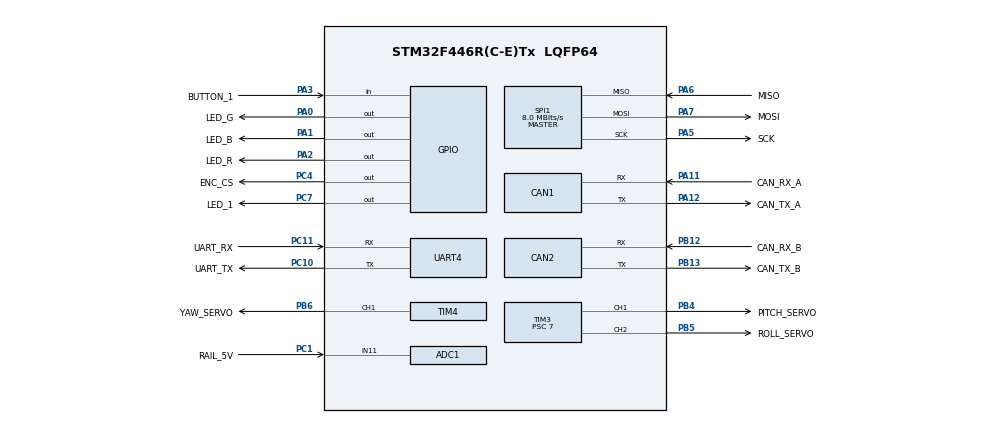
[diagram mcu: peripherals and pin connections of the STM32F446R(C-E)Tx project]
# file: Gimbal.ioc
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ADC1.Channel-1\#ChannelRegularConversion=ADC_CHANNEL_11
ADC1.NbrOfConversionFlag=1
ADC1.Rank-1\#ChannelRegularConversion=1
ADC1.SamplingTime-1\#ChannelRegularConversion=ADC_SAMPLETIME_3CYCLES
ADC1.master=1
CAN1.CalculateTimeQuantum=1000.0
CAN2.CalculateTimeQuantum=1000.0
Mcu.Family=STM32F4
Mcu.Name=STM32F446R(C-E)Tx
Mcu.Package=LQFP64
NVIC.PriorityGroup=NVIC_PRIORITYGROUP_4
PA0-WKUP.GPIO_Label=LED_G
PA0-WKUP.Signal=GPIO_Output
PA1.GPIO_Label=LED_B
PA1.Signal=GPIO_Output
PA11.GPIO_Label=CAN_RX_A
PA11.Mode=Master
PA11.Signal=CAN1_RX
PA12.GPIO_Label=CAN_TX_A
PA12.Mode=Master
PA12.Signal=CAN1_TX
PA13.GPIO_Label=SWD_IO
PA13.Mode=JTAG_4_pins
PA13.Signal=SYS_JTMS-SWDIO
PA14.GPIO_Label=SWD_CLK
PA14.Mode=JTAG_4_pins
PA14.Signal=SYS_JTCK-SWCLK
PA15.GPIO_Label=JTDI
PA15.Mode=JTAG_4_pins
PA15.Signal=SYS_JTDI
PA2.GPIO_Label=LED_R
PA2.Signal=GPIO_Output
PA3.GPIO_Label=BUTTON_1
PA3.Signal=GPIO_Input
PA5.GPIO_Label=SCK
PA5.Mode=Full_Duplex_Master
PA5.Signal=SPI1_SCK
PA6.GPIO_Label=MISO
PA6.Mode=Full_Duplex_Master
PA6.Signal=SPI1_MISO
PA7.GPIO_Label=MOSI
PA7.Mode=Full_Duplex_Master
PA7.Signal=SPI1_MOSI
PB12.GPIO_Label=CAN_RX_B
PB12.Mode=Slave
PB12.Signal=CAN2_RX
PB13.GPIO_Label=CAN_TX_B
PB13.Mode=Slave
PB13.Signal=CAN2_TX
PB3.GPIO_Label=JTDO
PB3.Mode=JTAG_4_pins
PB3.Signal=SYS_JTDO-SWO
PB4.GPIO_Label=PITCH_SERVO
PB4.Signal=S_TIM3_CH1
PB5.GPIO_Label=ROLL_SERVO
PB5.Signal=S_TIM3_CH2
PB6.GPIO_Label=YAW_SERVO
PB6.Signal=S_TIM4_CH1
PC1.GPIO_Label=RAIL_5V
PC1.Signal=ADCx_IN11
PC10.GPIO_Label=UART_TX
PC10.Mode=Asynchronous
PC10.Signal=UART4_TX
PC11.GPIO_Label=UART_RX
PC11.Mode=Asynchronous
PC11.Signal=UART4_RX
PC4.GPIO_Label=ENC_CS
PC4.Signal=GPIO_Output
PC7.GPIO_Label=LED_1
PC7.Signal=GPIO_Output
PH0-OSC_IN.Mode=HSE-External-Oscillator
PH0-OSC_IN.Signal=RCC_OSC_IN
PH1-OSC_OUT.Mode=HSE-External-Oscillator
PH1-OSC_OUT.Signal=RCC_OSC_OUT
ProjectManager.HeapSize=0x200
ProjectManager.StackSize=0x400
ProjectManager.TargetToolchain=STM32CubeIDE
RCC.CortexFreq_Value=16000000
RCC.USBFreq_Value=96000000
RCC.VCOOutputFreq_Value=192000000
SH.ADCx_IN11.0=ADC1_IN11,IN11
SH.S_TIM3_CH1.0=TIM3_CH1,PWM Generation1 CH1
SH.S_TIM3_CH2.0=TIM3_CH2,PWM Generation2 CH2
SH.S_TIM4_CH1.0=TIM4_CH1,PWM Generation1 CH1
SPI1.CalculateBaudRate=8.0 MBits/s
SPI1.Direction=SPI_DIRECTION_2LINES
SPI1.Mode=SPI_MODE_MASTER
SPI1.VirtualType=VM_MASTER
TIM3.Channel-PWM\ Generation1\ CH1=TIM_CHANNEL_1
TIM3.Channel-PWM\ Generation2\ CH2=TIM_CHANNEL_2
TIM3.Period=40000
TIM3.Prescaler=7
TIM4.Channel-PWM\ Generation1\ CH1=TIM_CHANNEL_1
TIM4.Period=40000
TIM4.Prescaler=7
UART4.VirtualMode=Asynchronous
VP_TIM11_VS_ClockSourceINT.Mode=Enable_Timer
VP_TIM12_VS_OPM.Mode=OPM_bit
VP_TIM6_VS_ClockSourceINT.Mode=Enable_Timer
VP_TIM7_VS_ClockSourceINT.Mode=Enable_Timer
board=custom

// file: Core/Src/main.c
/* USER CODE BEGIN Header */
/**
  ******************************************************************************
  * @file           : main.c
  * @brief          : Main program body
  ******************************************************************************
  * @attention
  *
  * <h2><center>&copy; Copyright (c) 2021 STMicroelectronics.
  * All rights reserved.</center></h2>
  *
  * This software component is licensed by ST under BSD 3-Clause license,
  * the "License"; You may not use this file except in compliance with the
  * License. You may obtain a copy of the License at:
  *                        opensource.org/licenses/BSD-3-Clause
  *
  ******************************************************************************
  */
/* USER CODE END Header */

#include "main.h"
#include "adc.h"
#include "can.h"
#include "spi.h"
#include "tim.h"
#include "usart.h"
#include "gpio.h"

/* USER CODE BEGIN PM */
#define isBitSet(byte, bit) (byte & (1 << bit))
#define isBitClear(byte, bit) !(byte & (1 << bit))
#define toggleBit(byte, bit) (byte ^= (1 << bit))
#define SIGNOF(val) ((0 < (val)) - ((val) < 0))

/* USER CODE END PM */

void SystemClock_Config(void);

int main(void)
{

  /* MCU Configuration--------------------------------------------------------*/

  /* Reset of all peripherals, Initializes the Flash interface and the Systick. */
  HAL_Init();

  /* Configure the system clock */
  SystemClock_Config();

  /* Initialize all configured peripherals */
  MX_GPIO_Init();
  MX_CAN1_Init();
  MX_CAN2_Init();
  MX_SPI1_Init();
  MX_TIM4_Init();
  MX_TIM6_Init();
  MX_TIM7_Init();
  MX_TIM12_Init();
  MX_UART4_Init();
  MX_TIM11_Init();
  MX_TIM3_Init();
  MX_ADC1_Init();

  /* Infinite loop */
  /* USER CODE BEGIN WHILE */

  HAL_TIM_PWM_Start(&htim3, TIM_CHANNEL_1);
  HAL_TIM_PWM_Start(&htim3, TIM_CHANNEL_2);
  HAL_TIM_PWM_Start(&htim4, TIM_CHANNEL_1);

  uint8_t iterator = 0;
  const float MAX_PWM_MS = 2.0f;
  const float MIN_PWM_MS = 1.0f;
  const int MAX_ITERATOR = 8.0;

  uint16_t raw;
  char msg[10];

  while (1)
  {
	  if(iterator == MAX_ITERATOR)
	  {
	  		  iterator = 0;
	  }

	  HAL_GPIO_WritePin(LED_R_GPIO_Port, LED_R_Pin, isBitSet(iterator, 0));
	  HAL_GPIO_WritePin(LED_G_GPIO_Port, LED_G_Pin, isBitSet(iterator, 1));
	  HAL_GPIO_WritePin(LED_B_GPIO_Port, LED_B_Pin, isBitSet(iterator, 2));

	  float servoMs = (MAX_PWM_MS-MIN_PWM_MS)*(iterator/MAX_ITERATOR)+MIN_PWM_MS;
	  htim3.Instance->CCR1 = servoMs/MAX_PWM_MS*40000;
	  htim3.Instance->CCR2 = servoMs/MAX_PWM_MS*40000;
	  htim4.Instance->CCR1 = servoMs/MAX_PWM_MS*40000;

	 iterator++;
    /* USER CODE END WHILE */

  }
}

void SystemClock_Config(void)
{
  RCC_OscInitTypeDef RCC_OscInitStruct = {0};
  RCC_ClkInitTypeDef RCC_ClkInitStruct = {0};

  /** Configure the main internal regulator output voltage
  */
  __HAL_RCC_PWR_CLK_ENABLE();
  __HAL_PWR_VOLTAGESCALING_CONFIG(PWR_REGULATOR_VOLTAGE_SCALE3);
  /** Initializes the CPU, AHB and APB busses clocks
  */
  RCC_OscInitStruct.OscillatorType = RCC_OSCILLATORTYPE_HSI;
  RCC_OscInitStruct.HSIState = RCC_HSI_ON;
  RCC_OscInitStruct.HSICalibrationValue = RCC_HSICALIBRATION_DEFAULT;
  RCC_OscInitStruct.PLL.PLLState = RCC_PLL_NONE;
  if (HAL_RCC_OscConfig(&RCC_OscInitStruct) != HAL_OK)
  {
    Error_Handler();
  }
  /** Initializes the CPU, AHB and APB busses clocks
  */
  RCC_ClkInitStruct.ClockType = RCC_CLOCKTYPE_HCLK|RCC_CLOCKTYPE_SYSCLK
                              |RCC_CLOCKTYPE_PCLK1|RCC_CLOCKTYPE_PCLK2;
  RCC_ClkInitStruct.SYSCLKSource = RCC_SYSCLKSOURCE_HSI;
  RCC_ClkInitStruct.AHBCLKDivider = RCC_SYSCLK_DIV1;
  RCC_ClkInitStruct.APB1CLKDivider = RCC_HCLK_DIV1;
  RCC_ClkInitStruct.APB2CLKDivider = RCC_HCLK_DIV1;

  if (HAL_RCC_ClockConfig(&RCC_ClkInitStruct, FLASH_LATENCY_0) != HAL_OK)
  {
    Error_Handler();
  }
}

void Error_Handler(void)
{
}

/************************ (C) COPYRIGHT STMicroelectronics *****END OF FILE****/
